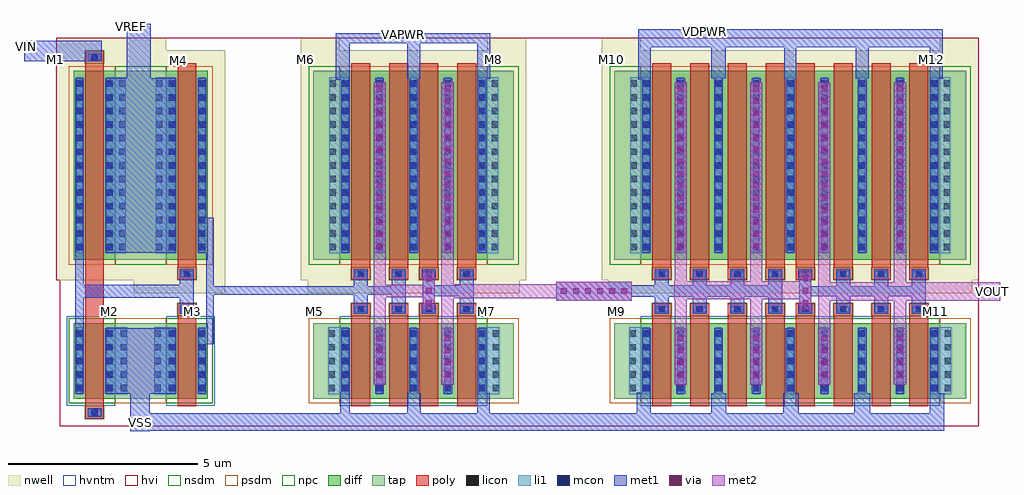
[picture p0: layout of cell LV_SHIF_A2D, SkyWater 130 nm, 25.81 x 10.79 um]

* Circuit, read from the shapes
.subckt LV_SHIF_A2D VAPWR VDPWR VIN VOUT VREF VSS
XM1 VSS VIN n1 VSS sky130_fd_pr__nfet_g5v0d10v5 w=2 l=0.5
XM2 n2 n1 VSS VSS sky130_fd_pr__nfet_g5v0d10v5 w=2 l=0.5
XM3 n3 n2 VSS VSS sky130_fd_pr__nfet_g5v0d10v5 w=2 l=0.5 m=2
XM4 n4 n3 VSS VSS sky130_fd_pr__nfet_g5v0d10v5 w=2 l=0.5 m=2
XM5 n5 n4 VSS VSS sky130_fd_pr__nfet_g5v0d10v5 w=2 l=0.5 m=4
XM6 VOUT n5 VSS VSS sky130_fd_pr__nfet_g5v0d10v5 w=2 l=0.5 m=4
XM7 VREF VIN n1 VREF sky130_fd_pr__pfet_g5v0d10v5 w=5 l=0.5
XM8 n2 n1 VREF VREF sky130_fd_pr__pfet_g5v0d10v5 w=5 l=0.5
XM9 n3 n2 VAPWR VAPWR sky130_fd_pr__pfet_g5v0d10v5 w=5 l=0.5 m=2
XM10 n4 n3 VAPWR VAPWR sky130_fd_pr__pfet_g5v0d10v5 w=5 l=0.5 m=2
XM11 n5 n4 VDPWR VDPWR sky130_fd_pr__pfet_g5v0d10v5 w=5 l=0.5 m=4
XM12 VOUT n5 VDPWR VDPWR sky130_fd_pr__pfet_g5v0d10v5 w=5 l=0.5 m=4
.ends

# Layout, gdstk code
from math import pi, radians
import gdstk
lib = gdstk.Library(unit=1e-6, precision=1e-09)
def R(c, l, rs):  # rectangles x0, y0, x1, y1
    for r in rs: c.add(gdstk.rectangle(r[:2], r[2:], *l))
def A(c, l, x, y, w, h, nx, ny, dx, dy):  # array of equal rectangles
    R(c, l, [(x+i*dx, y+j*dy, x+i*dx+w, y+j*dy+h) for i in range(nx) for j in range(ny)])
nwell = (64, 20)
diff = (65, 20)
tap = (65, 44)
poly = (66, 20)
licon = (66, 44)
li1 = (67, 20)
mcon = (67, 44)
met1 = (68, 20)
via = (68, 44)
met2 = (69, 20)
hvi = (75, 20)
nsdm = (93, 44)
psdm = (94, 20)
npc = (95, 20)
hvntm = (125, 20)

vias_gen_5 = lib.new_cell('vias_gen$5')
R(vias_gen_5, met1, [(0,0,2,0.5)])
A(vias_gen_5, via, 0.125, 0.175, 0.15, 0.15, 6, 1, 0.32, 0)
R(vias_gen_5, met2, [(0,0,2,0.5)])

vias_gen_4 = lib.new_cell('vias_gen$4')
R(vias_gen_4, met1, [(0,0,0.32,4.5)])
A(vias_gen_4, via, 0.085, 0.095, 0.15, 0.15, 1, 14, 0, 0.32)
R(vias_gen_4, met2, [(0,0,0.32,4.5)])

vias_gen_2 = lib.new_cell('vias_gen$2')
R(vias_gen_2, met1, [(0,0,0.32,1)])
A(vias_gen_2, via, 0.085, 0.105, 0.15, 0.15, 1, 3, 0, 0.32)
R(vias_gen_2, met2, [(0,0,0.32,1)])

vias_gen = lib.new_cell('vias_gen')
R(vias_gen, met1, [(0,0,0.32,1.5)])
A(vias_gen, via, 0.085, 0.195, 0.15, 0.15, 1, 4, 0, 0.32)
R(vias_gen, met2, [(0,0,0.32,1.5)])

nfet_11 = lib.new_cell('nfet$11')
R(nfet_11, diff, [(0,0,1.1,2)])
R(nfet_11, tap, [(1.1,0,1.55,2)])
R(nfet_11, poly, [(0.3,-0.2,0.8,2.2), (0.3,2.2,0.8,2.53)])
A(nfet_11, licon, 0.065, 0.195, 0.17, 0.17, 1, 5, 0, 0.36)
A(nfet_11, licon, 0.865, 0.195, 0.17, 0.17, 1, 5, 0, 0.36)
A(nfet_11, licon, 1.24, 0.195, 0.17, 0.17, 1, 5, 0, 0.36)
R(nfet_11, licon, [(0.465,2.28,0.635,2.45)])
R(nfet_11, li1, [(0.065,0.115,0.235,1.885), (0.865,0.115,1.035,1.885), (1.24,0.115,1.41,1.885), (0.385,2.28,0.715,2.45)])
A(nfet_11, mcon, 0.065, 0.195, 0.17, 0.17, 1, 5, 0, 0.36)
A(nfet_11, mcon, 0.865, 0.195, 0.17, 0.17, 1, 5, 0, 0.36)
R(nfet_11, mcon, [(0.465,2.28,0.635,2.45)])
R(nfet_11, met1, [(0.035,0.135,0.265,1.865), (0.835,0.135,1.065,1.865), (0.365,2.25,0.735,2.48)])
R(nfet_11, hvi, [(-0.37,-0.385,1.86,2.725)])
R(nfet_11, nsdm, [(-0.125,-0.125,1.1,2.125)])
R(nfet_11, psdm, [(1.1,-0.125,1.675,2.125)])
R(nfet_11, npc, [(0.29,2.19,0.81,2.54)])
R(nfet_11, hvntm, [(-0.185,-0.185,1.1,2.185)])

nfet_8 = lib.new_cell('nfet$8')
R(nfet_8, diff, [(0,0,2.1,2)])
R(nfet_8, tap, [(2.1,0,2.55,2)])
R(nfet_8, poly, [(0.3,-0.2,0.8,2.2), (1.3,-0.2,1.8,2.2), (0.3,2.2,0.8,2.53), (1.3,2.2,1.8,2.53)])
A(nfet_8, licon, 0.065, 0.195, 0.17, 0.17, 3, 5, 0.9, 0.36)
A(nfet_8, licon, 2.24, 0.195, 0.17, 0.17, 1, 5, 0, 0.36)
R(nfet_8, licon, [(0.465,2.28,0.635,2.45), (1.465,2.28,1.635,2.45)])
A(nfet_8, li1, 0.065, 0.115, 0.17, 1.77, 3, 1, 0.9, 0)
R(nfet_8, li1, [(2.24,0.115,2.41,1.885), (0.385,2.28,0.715,2.45), (1.385,2.28,1.715,2.45)])
A(nfet_8, mcon, 0.065, 0.195, 0.17, 0.17, 3, 5, 0.9, 0.36)
R(nfet_8, mcon, [(0.465,2.28,0.635,2.45), (1.465,2.28,1.635,2.45)])
A(nfet_8, met1, 0.035, 0.135, 0.23, 1.73, 3, 1, 0.9, 0)
R(nfet_8, met1, [(0.365,2.25,0.735,2.48), (1.365,2.25,1.735,2.48)])
R(nfet_8, hvi, [(-0.37,-0.385,2.86,2.725)])
R(nfet_8, nsdm, [(-0.125,-0.125,2.1,2.125)])
R(nfet_8, psdm, [(2.1,-0.125,2.675,2.125)])
R(nfet_8, npc, [(0.29,2.19,0.81,2.54), (1.29,2.19,1.81,2.54)])
R(nfet_8, hvntm, [(-0.185,-0.185,2.1,2.185)])

pfet_12 = lib.new_cell('pfet$12')
R(pfet_12, nwell, [(-0.465,-0.88,2.955,5.54)])
R(pfet_12, diff, [(0,0,2.1,5)])
R(pfet_12, tap, [(2.1,0,2.49,5)])
R(pfet_12, poly, [(0.3,-0.53,0.8,-0.2), (1.3,-0.53,1.8,-0.2), (0.3,-0.2,0.8,5.2), (1.3,-0.2,1.8,5.2)])
A(pfet_12, licon, 0.065, 0.255, 0.17, 0.17, 3, 13, 0.9, 0.36)
A(pfet_12, licon, 2.21, 0.255, 0.17, 0.17, 1, 13, 0, 0.36)
R(pfet_12, licon, [(0.465,-0.45,0.635,-0.28), (1.465,-0.45,1.635,-0.28)])
A(pfet_12, li1, 0.065, 0.175, 0.17, 4.65, 3, 1, 0.9, 0)
R(pfet_12, li1, [(0.385,-0.45,0.715,-0.28), (1.385,-0.45,1.715,-0.28), (2.21,0.175,2.38,4.825)])
A(pfet_12, mcon, 0.065, 0.255, 0.17, 0.17, 3, 13, 0.9, 0.36)
R(pfet_12, mcon, [(0.465,-0.45,0.635,-0.28), (1.465,-0.45,1.635,-0.28)])
A(pfet_12, met1, 0.035, 0.195, 0.23, 4.61, 3, 1, 0.9, 0)
R(pfet_12, met1, [(0.365,-0.48,0.735,-0.25), (1.365,-0.48,1.735,-0.25)])
R(pfet_12, hvi, [(-0.465,-0.88,2.955,5.54)])
R(pfet_12, nsdm, [(2.1,-0.125,2.615,5.125)])
R(pfet_12, psdm, [(-0.125,-0.125,2.1,5.125)])
R(pfet_12, npc, [(0.29,-0.54,0.81,-0.19), (1.29,-0.54,1.81,-0.19)])

nfet_9 = lib.new_cell('nfet$9')
R(nfet_9, diff, [(0,0,4.1,2)])
R(nfet_9, tap, [(4.1,0,4.55,2)])
A(nfet_9, poly, 0.3, -0.2, 0.5, 2.4, 4, 1, 1, 0)
A(nfet_9, poly, 0.3, 2.2, 0.5, 0.33, 4, 1, 1, 0)
A(nfet_9, licon, 0.065, 0.195, 0.17, 0.17, 1, 5, 0, 0.36)
A(nfet_9, licon, 0.965, 0.195, 0.17, 0.17, 3, 5, 1, 0.36)
A(nfet_9, licon, 3.865, 0.195, 0.17, 0.17, 1, 5, 0, 0.36)
A(nfet_9, licon, 4.24, 0.195, 0.17, 0.17, 1, 5, 0, 0.36)
A(nfet_9, licon, 0.465, 2.28, 0.17, 0.17, 4, 1, 1, 0)
A(nfet_9, li1, 0.965, 0.115, 0.17, 1.77, 3, 1, 1, 0)
A(nfet_9, li1, 0.385, 2.28, 0.33, 0.17, 4, 1, 1, 0)
R(nfet_9, li1, [(0.065,0.115,0.235,1.885), (3.865,0.115,4.035,1.885), (4.24,0.115,4.41,1.885)])
A(nfet_9, mcon, 0.065, 0.195, 0.17, 0.17, 1, 5, 0, 0.36)
A(nfet_9, mcon, 0.965, 0.195, 0.17, 0.17, 3, 5, 1, 0.36)
A(nfet_9, mcon, 3.865, 0.195, 0.17, 0.17, 1, 5, 0, 0.36)
A(nfet_9, mcon, 0.465, 2.28, 0.17, 0.17, 4, 1, 1, 0)
A(nfet_9, met1, 0.935, 0.135, 0.23, 1.73, 3, 1, 1, 0)
A(nfet_9, met1, 0.365, 2.25, 0.37, 0.23, 4, 1, 1, 0)
R(nfet_9, met1, [(0.035,0.135,0.265,1.865), (3.835,0.135,4.065,1.865)])
R(nfet_9, hvi, [(-0.37,-0.385,4.86,2.725)])
R(nfet_9, nsdm, [(-0.125,-0.125,4.1,2.125)])
R(nfet_9, psdm, [(4.1,-0.125,4.675,2.125)])
A(nfet_9, npc, 0.29, 2.19, 0.52, 0.35, 4, 1, 1, 0)
R(nfet_9, hvntm, [(-0.185,-0.185,4.1,2.185)])

pfet_1 = lib.new_cell('pfet$1')
R(pfet_1, nwell, [(-0.465,-0.88,4.955,5.54)])
R(pfet_1, diff, [(0,0,4.1,5)])
R(pfet_1, tap, [(4.1,0,4.49,5)])
A(pfet_1, poly, 0.3, -0.53, 0.5, 0.33, 4, 1, 1, 0)
A(pfet_1, poly, 0.3, -0.2, 0.5, 5.4, 4, 1, 1, 0)
A(pfet_1, licon, 0.465, -0.45, 0.17, 0.17, 4, 1, 1, 0)
A(pfet_1, licon, 0.065, 0.255, 0.17, 0.17, 1, 13, 0, 0.36)
A(pfet_1, licon, 0.965, 0.255, 0.17, 0.17, 3, 13, 1, 0.36)
A(pfet_1, licon, 3.865, 0.255, 0.17, 0.17, 1, 13, 0, 0.36)
A(pfet_1, licon, 4.21, 0.255, 0.17, 0.17, 1, 13, 0, 0.36)
A(pfet_1, li1, 0.385, -0.45, 0.33, 0.17, 4, 1, 1, 0)
A(pfet_1, li1, 0.965, 0.175, 0.17, 4.65, 3, 1, 1, 0)
R(pfet_1, li1, [(0.065,0.175,0.235,4.825), (3.865,0.175,4.035,4.825), (4.21,0.175,4.38,4.825)])
A(pfet_1, mcon, 0.465, -0.45, 0.17, 0.17, 4, 1, 1, 0)
A(pfet_1, mcon, 0.065, 0.255, 0.17, 0.17, 1, 13, 0, 0.36)
A(pfet_1, mcon, 0.965, 0.255, 0.17, 0.17, 3, 13, 1, 0.36)
A(pfet_1, mcon, 3.865, 0.255, 0.17, 0.17, 1, 13, 0, 0.36)
A(pfet_1, met1, 0.365, -0.48, 0.37, 0.23, 4, 1, 1, 0)
A(pfet_1, met1, 0.935, 0.195, 0.23, 4.61, 3, 1, 1, 0)
R(pfet_1, met1, [(0.035,0.195,0.265,4.805), (3.835,0.195,4.065,4.805)])
R(pfet_1, hvi, [(-0.465,-0.88,4.955,5.54)])
R(pfet_1, nsdm, [(4.1,-0.125,4.615,5.125)])
R(pfet_1, psdm, [(-0.125,-0.125,4.1,5.125)])
A(pfet_1, npc, 0.29, -0.54, 0.52, 0.35, 4, 1, 1, 0)

pfet_10 = lib.new_cell('pfet$10')
R(pfet_10, nwell, [(-0.465,-0.54,1.955,5.88)])
R(pfet_10, diff, [(0,0,1.1,5)])
R(pfet_10, tap, [(1.1,0,1.49,5)])
R(pfet_10, poly, [(0.3,-0.2,0.8,5.2), (0.3,5.2,0.8,5.53)])
A(pfet_10, licon, 0.065, 0.255, 0.17, 0.17, 1, 13, 0, 0.36)
A(pfet_10, licon, 0.865, 0.255, 0.17, 0.17, 1, 13, 0, 0.36)
A(pfet_10, licon, 1.21, 0.255, 0.17, 0.17, 1, 13, 0, 0.36)
R(pfet_10, licon, [(0.465,5.28,0.635,5.45)])
R(pfet_10, li1, [(0.065,0.175,0.235,4.825), (0.865,0.175,1.035,4.825), (1.21,0.175,1.38,4.825), (0.385,5.28,0.715,5.45)])
A(pfet_10, mcon, 0.065, 0.255, 0.17, 0.17, 1, 13, 0, 0.36)
A(pfet_10, mcon, 0.865, 0.255, 0.17, 0.17, 1, 13, 0, 0.36)
R(pfet_10, mcon, [(0.465,5.28,0.635,5.45)])
R(pfet_10, met1, [(0.035,0.195,0.265,4.805), (0.835,0.195,1.065,4.805), (0.365,5.25,0.735,5.48)])
R(pfet_10, hvi, [(-0.465,-0.54,1.955,5.88)])
R(pfet_10, nsdm, [(1.1,-0.125,1.615,5.125)])
R(pfet_10, psdm, [(-0.125,-0.125,1.1,5.125)])
R(pfet_10, npc, [(0.29,5.19,0.81,5.54)])

nfet = lib.new_cell('nfet')
R(nfet, diff, [(0,0,1.1,2)])
R(nfet, tap, [(1.1,0,1.55,2)])
R(nfet, poly, [(0.3,-0.53,0.8,-0.2), (0.3,-0.2,0.8,2.2)])
A(nfet, licon, 0.065, 0.195, 0.17, 0.17, 1, 5, 0, 0.36)
A(nfet, licon, 0.865, 0.195, 0.17, 0.17, 1, 5, 0, 0.36)
A(nfet, licon, 1.24, 0.195, 0.17, 0.17, 1, 5, 0, 0.36)
R(nfet, licon, [(0.465,-0.45,0.635,-0.28)])
R(nfet, li1, [(0.385,-0.45,0.715,-0.28), (0.065,0.115,0.235,1.885), (0.865,0.115,1.035,1.885), (1.24,0.115,1.41,1.885)])
A(nfet, mcon, 0.065, 0.195, 0.17, 0.17, 1, 5, 0, 0.36)
A(nfet, mcon, 0.865, 0.195, 0.17, 0.17, 1, 5, 0, 0.36)
R(nfet, mcon, [(0.465,-0.45,0.635,-0.28)])
R(nfet, met1, [(0.365,-0.48,0.735,-0.25), (0.035,0.135,0.265,1.865), (0.835,0.135,1.065,1.865)])
R(nfet, hvi, [(-0.37,-0.725,1.86,2.385)])
R(nfet, nsdm, [(-0.125,-0.125,1.1,2.125)])
R(nfet, psdm, [(1.1,-0.125,1.675,2.125)])
R(nfet, npc, [(0.29,-0.54,0.81,-0.19)])
R(nfet, hvntm, [(-0.185,-0.185,1.1,2.185)])

pfet = lib.new_cell('pfet')
R(pfet, nwell, [(-0.465,-0.88,1.955,5.54)])
R(pfet, diff, [(0,0,1.1,5)])
R(pfet, tap, [(1.1,0,1.49,5)])
R(pfet, poly, [(0.3,-0.53,0.8,-0.2), (0.3,-0.2,0.8,5.2)])
A(pfet, licon, 0.065, 0.255, 0.17, 0.17, 1, 13, 0, 0.36)
A(pfet, licon, 0.865, 0.255, 0.17, 0.17, 1, 13, 0, 0.36)
A(pfet, licon, 1.21, 0.255, 0.17, 0.17, 1, 13, 0, 0.36)
R(pfet, licon, [(0.465,-0.45,0.635,-0.28)])
R(pfet, li1, [(0.385,-0.45,0.715,-0.28), (0.065,0.175,0.235,4.825), (0.865,0.175,1.035,4.825), (1.21,0.175,1.38,4.825)])
A(pfet, mcon, 0.065, 0.255, 0.17, 0.17, 1, 13, 0, 0.36)
A(pfet, mcon, 0.865, 0.255, 0.17, 0.17, 1, 13, 0, 0.36)
R(pfet, mcon, [(0.465,-0.45,0.635,-0.28)])
R(pfet, met1, [(0.365,-0.48,0.735,-0.25), (0.035,0.195,0.265,4.805), (0.835,0.195,1.065,4.805)])
R(pfet, hvi, [(-0.465,-0.88,1.955,5.54)])
R(pfet, nsdm, [(1.1,-0.125,1.615,5.125)])
R(pfet, psdm, [(-0.125,-0.125,1.1,5.125)])
R(pfet, npc, [(0.29,-0.54,0.81,-0.19)])

lv_shif_a2d = lib.new_cell('LV_SHIF_A2D')
R(lv_shif_a2d, nwell, [(-15.535,9.915,-14.505,16.335), (-15.22,9.915,-14.19,16.335), (-10.625,9.915,-9.595,16.335), (-5.695,9.915,-4.665,16.335), (-2.665,9.915,-1.635,16.335), (6.265,9.915,7.295,16.335)])
R(lv_shif_a2d, tap, [(-15.535,6.785,-14.835,8.785), (-14.89,6.785,-14.19,8.785), (-10.295,6.785,-9.595,8.785), (-5.695,6.785,-4.995,8.785), (-2.335,6.785,-1.635,8.785), (6.265,6.785,6.965,8.785), (-15.535,10.455,-14.835,15.455), (-14.89,10.455,-14.19,15.455), (-10.295,10.455,-9.595,15.455), (-5.695,10.455,-4.995,15.455), (-2.335,10.455,-1.635,15.455), (6.265,10.455,6.965,15.455)])
R(lv_shif_a2d, poly, [(-16.335,8.955,-15.835,10.28)])
R(lv_shif_a2d, li1, [(-15.77,6.9,-15.225,8.67), (-14.5,6.9,-13.955,8.67), (-9.905,6.9,-9.36,8.67), (-5.93,6.9,-5.385,8.67), (-1.945,6.9,-1.4,8.67), (6.03,6.9,6.575,8.67), (-15.77,10.63,-15.255,15.28), (-14.47,10.63,-13.955,15.28), (-9.875,10.63,-9.36,15.28), (-5.93,10.63,-5.415,15.28), (-1.915,10.63,-1.4,15.28), (6.03,10.63,6.545,15.28)])
R(lv_shif_a2d, met1, [(-15.145,5.92,-14.63,6.99), (-15.145,5.935,6.38,6.4), (-9.59,6.065,-9.33,6.945), (-7.82,6.065,-7.455,6.93), (-5.96,6.065,-5.635,6.935), (0.225,6.25,0.62,6.925), (2.125,6.25,2.535,6.925), (4.005,6.25,4.425,6.935), (6,6.25,6.38,6.935), (-1.74,6.285,-1.37,6.94), (-15.58,6.92,-14.14,8.65), (-13.125,8.23,-12.935,11.57), (-16.6,8.595,-16.37,10.705), (-9.23,9.23,-8.86,10.01), (-8.23,9.23,-7.86,9.985), (-13.825,9.24,-13.455,10), (0.735,9.24,1.1,9.98), (-6.43,9.245,-6.06,9.99), (-0.27,9.245,0.105,9.995), (1.73,9.245,2.1,9.99), (-1.27,9.25,-0.9,9.985), (3.53,9.25,3.9,9.995), (4.53,9.25,4.9,9.99), (5.53,9.25,5.9,9.98), (-16.51,9.46,-13.495,9.795), (-1.98,9.48,2.075,9.785), (-7.115,9.49,-6.39,9.79), (2.83,9.49,5.87,9.755), (-12.955,9.535,-8.035,9.765), (-15.58,10.65,-14.145,15.26), (-15.235,15.16,-14.6,16.705), (-9.71,15.22,-9.33,16.445), (-1.71,15.23,-1.37,16.405), (-5.96,15.245,-5.625,16.435), (2.16,15.245,2.475,16.41), (6,15.25,6.34,16.43), (0.225,15.255,0.605,16.425), (4.04,15.255,4.395,16.42), (-7.82,15.26,-7.47,16.42), (-17.95,15.705,-15.9,16.25), (-1.71,16.085,6.34,16.555), (-9.71,16.19,-5.625,16.445)])
R(lv_shif_a2d, met2, [(3.055,8.6,3.375,10.665), (-0.745,8.615,-0.425,10.68), (-6.91,8.62,-6.59,10.66), (1.255,8.625,1.575,10.665), (-8.705,8.63,-8.385,10.71), (5.055,8.64,5.375,10.66), (3.32,9.375,7.86,9.86), (-0.75,9.42,2.76,9.885), (-6.7,9.435,-2.73,9.81), (-8.705,9.465,-7.09,9.795)])
R(lv_shif_a2d, hvi, [(-17.005,6.06,7.295,16.335), (-15.535,6.06,-14.65,9.51), (-15.075,6.06,-14.19,9.51), (-10.48,6.4,-9.595,9.51), (-5.695,6.4,-4.81,9.51), (-2.52,6.4,-1.635,9.51), (6.265,6.4,7.15,9.51), (-16.985,9.27,-12.63,10.04), (-15.535,9.915,-14.505,16.335), (-15.22,9.915,-14.19,16.335), (-10.625,9.915,-9.595,16.335), (-5.695,9.915,-4.665,16.335), (-2.665,9.915,-1.635,16.335), (6.265,9.915,7.295,16.335)])
R(lv_shif_a2d, nsdm, [(-15.535,10.33,-14.71,15.58), (-15.015,10.33,-14.19,15.58), (-10.42,10.33,-9.595,15.58), (-5.695,10.33,-4.87,15.58), (-2.46,10.33,-1.635,15.58), (6.265,10.33,7.09,15.58)])
R(lv_shif_a2d, psdm, [(-15.535,6.66,-14.71,8.91), (-15.015,6.66,-14.19,8.91), (-10.42,6.66,-9.595,8.91), (-5.695,6.66,-4.87,8.91), (-2.46,6.66,-1.635,8.91), (6.265,6.66,7.09,8.91)])
lv_shif_a2d.add(gdstk.Reference(vias_gen_5, (-3.875,9.38)))
lv_shif_a2d.add(gdstk.Reference(vias_gen_4, (-8.705,10.65)))
lv_shif_a2d.add(gdstk.Reference(vias_gen_2, (-7.405,9.14)))
lv_shif_a2d.add(gdstk.Reference(vias_gen_4, (-6.91,10.65)))
lv_shif_a2d.add(gdstk.Reference(vias_gen, (-6.91,8.65), x_reflection=True))
lv_shif_a2d.add(gdstk.Reference(vias_gen, (-8.705,8.65), x_reflection=True))
lv_shif_a2d.add(gdstk.Reference(vias_gen_4, (-0.745,10.65)))
lv_shif_a2d.add(gdstk.Reference(vias_gen_4, (1.255,10.65)))
lv_shif_a2d.add(gdstk.Reference(vias_gen_4, (3.055,10.65)))
lv_shif_a2d.add(gdstk.Reference(vias_gen_4, (5.055,10.65)))
lv_shif_a2d.add(gdstk.Reference(vias_gen, (-0.745,7.15)))
lv_shif_a2d.add(gdstk.Reference(vias_gen, (1.255,7.15)))
lv_shif_a2d.add(gdstk.Reference(vias_gen, (3.055,7.15)))
lv_shif_a2d.add(gdstk.Reference(vias_gen, (5.055,7.15)))
lv_shif_a2d.add(gdstk.Reference(vias_gen_2, (2.555,9.14)))
lv_shif_a2d.add(gdstk.Reference(nfet_11, (-13.09,6.785), rotation=pi, x_reflection=True))
lv_shif_a2d.add(gdstk.Reference(nfet_8, (-7.495,6.785), rotation=pi, x_reflection=True))
lv_shif_a2d.add(gdstk.Reference(nfet_8, (-7.795,6.785)))
lv_shif_a2d.add(gdstk.Reference(pfet_12, (-7.795,10.455)))
lv_shif_a2d.add(gdstk.Reference(nfet_9, (2.465,6.785), rotation=pi, x_reflection=True))
lv_shif_a2d.add(gdstk.Reference(pfet_1, (2.465,10.455), rotation=pi, x_reflection=True))
lv_shif_a2d.add(gdstk.Reference(nfet_9, (2.165,6.785)))
lv_shif_a2d.add(gdstk.Reference(pfet_1, (2.165,10.455)))
lv_shif_a2d.add(gdstk.Reference(pfet_10, (-16.635,10.455)))
lv_shif_a2d.add(gdstk.Reference(nfet, (-16.635,6.785)))
lv_shif_a2d.add(gdstk.Reference(pfet_12, (-7.495,10.455), rotation=pi, x_reflection=True))
lv_shif_a2d.add(gdstk.Reference(pfet, (-13.09,10.455), rotation=pi, x_reflection=True))
lv_shif_a2d.add(gdstk.Label('M5', (-10.255,9.085), layer=255, texttype=0))
lv_shif_a2d.add(gdstk.Label('M6', (-10.505,15.755), layer=255, texttype=0))
lv_shif_a2d.add(gdstk.Label('M7', (-5.73,9.085), layer=255, texttype=0))
lv_shif_a2d.add(gdstk.Label('M8', (-5.53,15.755), layer=255, texttype=0))
lv_shif_a2d.add(gdstk.Label('M9', (-2.285,9.085), layer=255, texttype=0))
lv_shif_a2d.add(gdstk.Label('M10', (-2.425,15.755), layer=255, texttype=0))
lv_shif_a2d.add(gdstk.Label('M11', (6.155,9.085), layer=255, texttype=0))
lv_shif_a2d.add(gdstk.Label('M12', (6.06,15.755), layer=255, texttype=0))
lv_shif_a2d.add(gdstk.Label('M4', (-13.87,15.72), layer=255, texttype=0))
lv_shif_a2d.add(gdstk.Label('M1', (-17.105,15.755), layer=255, texttype=0))
lv_shif_a2d.add(gdstk.Label('M3', (-13.495,9.085), layer=255, texttype=0))
lv_shif_a2d.add(gdstk.Label('M2', (-15.687,9.085), layer=255, texttype=0))
lv_shif_a2d.add(gdstk.Label('VIN', (-17.895,16.09), layer=68, texttype=5))
lv_shif_a2d.add(gdstk.Label('VAPWR', (-7.92,16.415), layer=68, texttype=5))
lv_shif_a2d.add(gdstk.Label('VDPWR', (0.035,16.49), layer=68, texttype=5))
lv_shif_a2d.add(gdstk.Label('VREF', (-15.105,16.625), layer=68, texttype=5))
lv_shif_a2d.add(gdstk.Label('VSS', (-14.86,6.145), layer=68, texttype=5))
lv_shif_a2d.add(gdstk.Label('VOUT', (7.67,9.61), layer=69, texttype=5))

lib.write_gds('LV_SHIF_A2D.gds')
